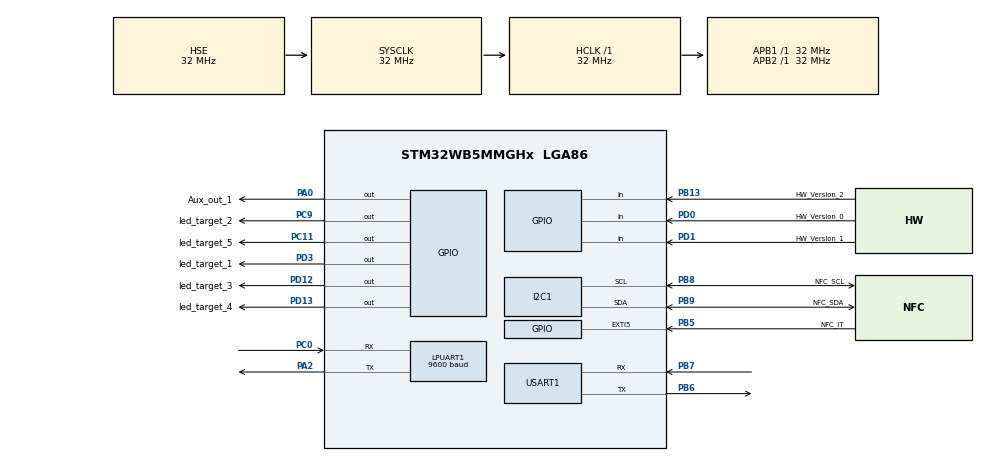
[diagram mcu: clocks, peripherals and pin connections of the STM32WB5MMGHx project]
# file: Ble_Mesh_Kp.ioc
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Dma.Request0=USART1_TX
Dma.USART1_TX.0.Direction=DMA_MEMORY_TO_PERIPH
Dma.USART1_TX.0.EventEnable=DISABLE
Dma.USART1_TX.0.Instance=DMA2_Channel4
Dma.USART1_TX.0.MemDataAlignment=DMA_MDATAALIGN_BYTE
Dma.USART1_TX.0.MemInc=DMA_MINC_ENABLE
Dma.USART1_TX.0.Mode=DMA_NORMAL
Dma.USART1_TX.0.PeriphDataAlignment=DMA_PDATAALIGN_BYTE
Dma.USART1_TX.0.PeriphInc=DMA_PINC_DISABLE
Dma.USART1_TX.0.Polarity=HAL_DMAMUX_REQ_GEN_RISING
Dma.USART1_TX.0.Priority=DMA_PRIORITY_LOW
Dma.USART1_TX.0.RequestNumber=1
Dma.USART1_TX.0.SignalID=NONE
Dma.USART1_TX.0.SyncEnable=DISABLE
Dma.USART1_TX.0.SyncPolarity=HAL_DMAMUX_SYNC_NO_EVENT
Dma.USART1_TX.0.SyncRequestNumber=1
Dma.USART1_TX.0.SyncSignalID=NONE
I2C1.Timing=0x00B07CB4
LPUART1.BaudRate=9600
LPUART1.FIFOMode=UART_FIFOMODE_ENABLE
Mcu.Family=STM32WB
Mcu.Name=STM32WB5MMGHx
Mcu.Package=LGA86
NVIC.DMA2_Channel4_IRQn=true\:0\:0\:false\:false\:true\:false\:true\:true
NVIC.EXTI9_5_IRQn=true\:0\:0\:false\:false\:true\:true\:true\:true
NVIC.HSEM_IRQn=true\:0\:0\:false\:false\:true\:false\:true\:true
NVIC.LPUART1_IRQn=true\:0\:0\:false\:false\:true\:true\:true\:true
NVIC.PriorityGroup=NVIC_PRIORITYGROUP_4
NVIC.USART1_IRQn=true\:0\:0\:false\:false\:true\:true\:true\:true
PA0.GPIO_Label=Aux_out_1
PA0.Signal=GPIO_Output
PA13.Mode=JTAG_5_pins
PA13.Signal=SYS_JTMS-SWDIO
PA14.Mode=JTAG_5_pins
PA14.Signal=SYS_JTCK-SWCLK
PA15.Mode=JTAG_5_pins
PA15.Signal=SYS_JTDI
PA2.Mode=Asynchronous
PA2.Signal=LPUART1_TX
PB13.GPIO_Label=HW_Version_2
PB13.Signal=GPIO_Input
PB3.Mode=JTAG_5_pins
PB3.Signal=SYS_JTDO-SWO
PB4.Mode=JTAG_5_pins
PB4.Signal=SYS_JTRST
PB5.GPIO_Label=NFC_IT
PB5.Signal=GPXTI5
PB6.Mode=Asynchronous
PB6.Signal=USART1_TX
PB7.Mode=Asynchronous
PB7.Signal=USART1_RX
PB8.GPIO_Label=NFC_SCL
PB8.Mode=I2C
PB8.Signal=I2C1_SCL
PB9.GPIO_Label=NFC_SDA
PB9.Mode=I2C
PB9.Signal=I2C1_SDA
PC0.Mode=Asynchronous
PC0.Signal=LPUART1_RX
PC11.GPIO_Label=led_target_5
PC11.Signal=GPIO_Output
PC9.GPIO_Label=led_target_2
PC9.Signal=GPIO_Output
PD0.GPIO_Label=HW_Version_0
PD0.Signal=GPIO_Input
PD1.GPIO_Label=HW_Version_1
PD1.Signal=GPIO_Input
PD12.GPIO_Label=led_target_3
PD12.Signal=GPIO_Output
PD13.GPIO_Label=led_target_4
PD13.Signal=GPIO_Output
PD3.GPIO_Label=led_target_1
PD3.Signal=GPIO_Output
ProjectManager.HeapSize=0x400
ProjectManager.StackSize=0x800
ProjectManager.TargetToolchain=MDK-ARM V5.32
RCC.ADCFreq_Value=128000000
RCC.AHBFreq_Value=32000000
RCC.APB1Freq_Value=32000000
RCC.APB1TimFreq_Value=32000000
RCC.APB2Freq_Value=32000000
RCC.APB2TimFreq_Value=32000000
RCC.APB3Freq_Value=16000000
RCC.CortexFreq_Value=32000000
RCC.HCLKFreq_Value=32000000
RCC.HSE_VALUE=32000000
RCC.HSI48_VALUE=48000000
RCC.HSI_VALUE=16000000
RCC.MSIClockRange=RCC_MSIRANGE_10
RCC.RFWKPClockSelection=RCC_RFWKPCLKSOURCE_LSE
RCC.RTCClockSelection=RCC_RTCCLKSOURCE_LSE
RCC.SMPSCLockSelection=RCC_SMPSCLKSOURCE_HSE
RCC.SYSCLKFreq_VALUE=32000000
RCC.SYSCLKSource=RCC_SYSCLKSOURCE_HSE
RCC.USBFreq_Value=128000000
RCC.VCOOutputFreq_Value=256000000
STM32_WPAN.CFG_IDENTITY_ADDRESS=GAP_STATIC_RANDOM_ADDR
STM32_WPAN.CFG_LSCLK_LSE=0
STM32_WPAN.CFG_TX_POWER=(0x1F) /* 6dBm */
USART1.VirtualMode-Asynchronous=VM_ASYNC
VP_CRC_VS_CRC.Mode=CRC_Activate
VP_HSEM_VS_HSEM.Mode=HSEM_Activate
VP_IPCC_VS_IPCC.Mode=IPCC_Activate
VP_MEMORYMAP_VS_MEMORYMAP.Mode=CurAppReg
VP_RCC_V_OSC32_IN.Mode=LSE-External-Clock-Source
VP_RCC_V_OSC_IN.Mode=HSE-External-Clock-Source
VP_RF_VS_RF.Mode=RF_Activate
VP_RTC_VS_RTC_Activate.Mode=RTC_Enabled
VP_SEQUENCER_VS_SEQUENCER.Mode=SEQUENCER_Enabled
VP_STM32_WPAN_VS_BLE_HOST.Mode=STM32_WPAN_Enabled
VP_TINY_LPM_VS_TINY_LPM.Mode=TINY_LPM_Enabled
board=custom

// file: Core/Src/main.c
/* USER CODE BEGIN Header */
/**
  ******************************************************************************
  * @file           : main.c
  * @brief          : Main program body
  ******************************************************************************
  * @attention
  *
  * Copyright (c) 2024 STMicroelectronics.
  * All rights reserved.
  *
  * This software is licensed under terms that can be found in the LICENSE file
  * in the root directory of this software component.
  * If no LICENSE file comes with this software, it is provided AS-IS.
  *
  ******************************************************************************
  */
/* USER CODE END Header */
#include "main.h"

/* USER CODE BEGIN Includes */
#include "p2p_server_app.h"
#include "ctor10-w_data.h"
#include "nfc_eeprom_mngt.h"
#include "dbg_trace.h"
/* USER CODE END Includes */

CRC_HandleTypeDef hcrc;

I2C_HandleTypeDef hi2c1;

IPCC_HandleTypeDef hipcc;

UART_HandleTypeDef hlpuart1;
UART_HandleTypeDef huart1;
DMA_HandleTypeDef hdma_usart1_tx;

RTC_HandleTypeDef hrtc;

/* USER CODE BEGIN PV */
char txBuf[TXBUFLEN];
char rxBuf[TXBUFLEN];
/* USER CODE END PV */

void SystemClock_Config(void);
void PeriphCommonClock_Config(void);
static void MX_GPIO_Init(void);
static void MX_DMA_Init(void);
static void MX_IPCC_Init(void);
static void MX_RTC_Init(void);
static void MX_USART1_UART_Init(void);
static void MX_I2C1_Init(void);
static void MX_LPUART1_UART_Init(void);
static void MX_CRC_Init(void);
static void MX_RF_Init(void);
/* USER CODE BEGIN PFP */
static void LPUART1_EnableWakeupFromStop(void);
/* USER CODE END PFP */

/* USER CODE BEGIN 0 */
uint8_t Rx_data[80];  //  creating a buffer of 100 bytes

void HAL_UART_RxCpltCallback(UART_HandleTypeDef *huart)
{
	/*char hex[4]; // "FF " + '\0'
    for (int i = 0; i < 20; i++)
    {
        int len = snprintf(hex, sizeof(hex), "%02X ", Rx_data[i]);
        HAL_UART_Transmit(&huart1, (uint8_t*)hex, len, HAL_MAX_DELAY);
    }
    char newline[] = "\r\n";
    HAL_UART_Transmit(&huart1, (uint8_t*)newline, 2, HAL_MAX_DELAY);*/
	#if DEBUG_LOG_ENABLED
    // Construit une ligne "RX: NN octets : xx xx xx ..."
    int offset = 0;
    offset += snprintf(txBuf + offset, TXBUFLEN - offset,
                       "RX %d bytes: ", 20);

    for (int i = 0; i < 20 && offset < (TXBUFLEN - 4); i++)
    {
        offset += snprintf(txBuf + offset, TXBUFLEN - offset,
                           "%02X ", Rx_data[i]);
    }

    // Ajoute fin de ligne
    snprintf(txBuf + offset, TXBUFLEN - offset, "\r\n");
    APP_DBG_MSG("%s", txBuf);
#endif

	ctor10wStoreAndNotify(Rx_data,20);
	HAL_UART_Receive_IT(huart, Rx_data, 20);
}

//drive error on UART like 0x00 emit by PIC at power off
void HAL_UART_ErrorCallback(UART_HandleTypeDef *huart)
{
	/*__disable_irq();
		huart->RxState= HAL_UART_STATE_READY;
	__enable_irq();*/
	HAL_UART_Abort(huart);
	HAL_UART_Receive_IT(huart, Rx_data, 20);
}

/**
Debug purpose only
*/
void HelloWorld()
{
	//snprintf (txBuf, TXBUFLEN, "KP-Ble-V2410: Hello World Hw %s\r\n", DISAPP_HARDWARE_REVISION_NUMBER);
	//HAL_UART_Transmit(&huart1, (uint8_t *)txBuf, strlen (txBuf), HAL_MAX_DELAY);
	APP_DBG_MSG("KP-Ble-V2410: Hello World Hw %s\r\n", DISAPP_HARDWARE_REVISION_NUMBER);
}
/* USER CODE END 0 */

int main(void)
{

  /* MCU Configuration--------------------------------------------------------*/

  /* Reset of all peripherals, Initializes the Flash interface and the Systick. */
  HAL_Init();
  /* Config code for STM32_WPAN (HSE Tuning must be done before system clock configuration) */
  MX_APPE_Config();

  /* Configure the system clock */
  SystemClock_Config();

  /* Configure the peripherals common clocks */
  PeriphCommonClock_Config();

  /* IPCC initialisation */
  MX_IPCC_Init();

  /* Initialize all configured peripherals */
  MX_GPIO_Init();
  MX_DMA_Init();
  MX_RTC_Init();
  MX_USART1_UART_Init();
  MX_I2C1_Init();
  MX_LPUART1_UART_Init();
  MX_CRC_Init();
  MX_RF_Init();
  /* USER CODE BEGIN 2 */
	GetHardwareVersion();
	EepromNFCInit();
  /* USER CODE END 2 */

  /* Init code for STM32_WPAN */
  MX_APPE_Init();

  /* Infinite loop */
  /* USER CODE BEGIN WHILE */
	HelloWorld();
	ctor10w_data_Init();
	UpdateDesignWithEEpromValue();
	HAL_UART_Abort(&hlpuart1);
  HAL_UART_Receive_IT(&hlpuart1, Rx_data, 20);
	//LPUART1_EnableWakeupFromStop();
  while (1)
  {
    /* USER CODE END WHILE */
    MX_APPE_Process();

    /* USER CODE BEGIN 3 */
		//On tente systématiquement le STOP2, WFI ne mettra en veille que s'il n'y a pas d'IT en attente
/*    HAL_SuspendTick();
    HAL_PWREx_EnterSTOP2Mode(PWR_STOPENTRY_WFI);
    // Réveil ici (BLE, LPUART, GPIO, RTC…)
    SystemClock_Config();   // Reconfig HSE/PLL après STOP2
    HAL_ResumeTick();*/
  }
  /* USER CODE END 3 */
}

void SystemClock_Config(void)
{
  RCC_OscInitTypeDef RCC_OscInitStruct = {0};
  RCC_ClkInitTypeDef RCC_ClkInitStruct = {0};

  /** Configure LSE Drive Capability
  */
  HAL_PWR_EnableBkUpAccess();
  __HAL_RCC_LSEDRIVE_CONFIG(RCC_LSEDRIVE_MEDIUMHIGH);

  /** Configure the main internal regulator output voltage
  */
  __HAL_PWR_VOLTAGESCALING_CONFIG(PWR_REGULATOR_VOLTAGE_SCALE1);

  /** Initializes the RCC Oscillators according to the specified parameters
  * in the RCC_OscInitTypeDef structure.
  */
  RCC_OscInitStruct.OscillatorType = RCC_OSCILLATORTYPE_HSI|RCC_OSCILLATORTYPE_HSE
                              |RCC_OSCILLATORTYPE_LSE;
  RCC_OscInitStruct.HSEState = RCC_HSE_ON;
  RCC_OscInitStruct.LSEState = RCC_LSE_ON;
  RCC_OscInitStruct.HSIState = RCC_HSI_ON;
  RCC_OscInitStruct.HSICalibrationValue = RCC_HSICALIBRATION_DEFAULT;
  RCC_OscInitStruct.PLL.PLLState = RCC_PLL_NONE;
  if (HAL_RCC_OscConfig(&RCC_OscInitStruct) != HAL_OK)
  {
    Error_Handler();
  }

  /** Configure the SYSCLKSource, HCLK, PCLK1 and PCLK2 clocks dividers
  */
  RCC_ClkInitStruct.ClockType = RCC_CLOCKTYPE_HCLK4|RCC_CLOCKTYPE_HCLK2
                              |RCC_CLOCKTYPE_HCLK|RCC_CLOCKTYPE_SYSCLK
                              |RCC_CLOCKTYPE_PCLK1|RCC_CLOCKTYPE_PCLK2;
  RCC_ClkInitStruct.SYSCLKSource = RCC_SYSCLKSOURCE_HSE;
  RCC_ClkInitStruct.AHBCLKDivider = RCC_SYSCLK_DIV1;
  RCC_ClkInitStruct.APB1CLKDivider = RCC_HCLK_DIV1;
  RCC_ClkInitStruct.APB2CLKDivider = RCC_HCLK_DIV1;
  RCC_ClkInitStruct.AHBCLK2Divider = RCC_SYSCLK_DIV1;
  RCC_ClkInitStruct.AHBCLK4Divider = RCC_SYSCLK_DIV1;

  if (HAL_RCC_ClockConfig(&RCC_ClkInitStruct, FLASH_LATENCY_1) != HAL_OK)
  {
    Error_Handler();
  }
}

void PeriphCommonClock_Config(void)
{
  RCC_PeriphCLKInitTypeDef PeriphClkInitStruct = {0};

  /** Initializes the peripherals clock
  */
  PeriphClkInitStruct.PeriphClockSelection = RCC_PERIPHCLK_SMPS|RCC_PERIPHCLK_RFWAKEUP;
  PeriphClkInitStruct.RFWakeUpClockSelection = RCC_RFWKPCLKSOURCE_LSE;
  PeriphClkInitStruct.SmpsClockSelection = RCC_SMPSCLKSOURCE_HSE;
  PeriphClkInitStruct.SmpsDivSelection = RCC_SMPSCLKDIV_RANGE0;

  if (HAL_RCCEx_PeriphCLKConfig(&PeriphClkInitStruct) != HAL_OK)
  {
    Error_Handler();
  }
}

static void MX_CRC_Init(void)
{

  hcrc.Instance = CRC;
  hcrc.Init.DefaultPolynomialUse = DEFAULT_POLYNOMIAL_ENABLE;
  hcrc.Init.DefaultInitValueUse = DEFAULT_INIT_VALUE_ENABLE;
  hcrc.Init.InputDataInversionMode = CRC_INPUTDATA_INVERSION_NONE;
  hcrc.Init.OutputDataInversionMode = CRC_OUTPUTDATA_INVERSION_DISABLE;
  hcrc.InputDataFormat = CRC_INPUTDATA_FORMAT_BYTES;
  if (HAL_CRC_Init(&hcrc) != HAL_OK)
  {
    Error_Handler();
  }

}

static void MX_I2C1_Init(void)
{

  hi2c1.Instance = I2C1;
  hi2c1.Init.Timing = 0x00B07CB4;
  hi2c1.Init.OwnAddress1 = 0;
  hi2c1.Init.AddressingMode = I2C_ADDRESSINGMODE_7BIT;
  hi2c1.Init.DualAddressMode = I2C_DUALADDRESS_DISABLE;
  hi2c1.Init.OwnAddress2 = 0;
  hi2c1.Init.OwnAddress2Masks = I2C_OA2_NOMASK;
  hi2c1.Init.GeneralCallMode = I2C_GENERALCALL_DISABLE;
  hi2c1.Init.NoStretchMode = I2C_NOSTRETCH_DISABLE;
  if (HAL_I2C_Init(&hi2c1) != HAL_OK)
  {
    Error_Handler();
  }

  /** Configure Analogue filter
  */
  if (HAL_I2CEx_ConfigAnalogFilter(&hi2c1, I2C_ANALOGFILTER_ENABLE) != HAL_OK)
  {
    Error_Handler();
  }

  /** Configure Digital filter
  */
  if (HAL_I2CEx_ConfigDigitalFilter(&hi2c1, 0) != HAL_OK)
  {
    Error_Handler();
  }

}

static void MX_IPCC_Init(void)
{

  hipcc.Instance = IPCC;
  if (HAL_IPCC_Init(&hipcc) != HAL_OK)
  {
    Error_Handler();
  }

}

static void MX_LPUART1_UART_Init(void)
{

  hlpuart1.Instance = LPUART1;
  hlpuart1.Init.BaudRate = 9600;
  hlpuart1.Init.WordLength = UART_WORDLENGTH_8B;
  hlpuart1.Init.StopBits = UART_STOPBITS_1;
  hlpuart1.Init.Parity = UART_PARITY_NONE;
  hlpuart1.Init.Mode = UART_MODE_TX_RX;
  hlpuart1.Init.HwFlowCtl = UART_HWCONTROL_NONE;
  hlpuart1.Init.OneBitSampling = UART_ONE_BIT_SAMPLE_DISABLE;
  hlpuart1.Init.ClockPrescaler = UART_PRESCALER_DIV1;
  hlpuart1.AdvancedInit.AdvFeatureInit = UART_ADVFEATURE_NO_INIT;
  hlpuart1.FifoMode = UART_FIFOMODE_ENABLE;
  if (HAL_UART_Init(&hlpuart1) != HAL_OK)
  {
    Error_Handler();
  }
  if (HAL_UARTEx_SetTxFifoThreshold(&hlpuart1, UART_TXFIFO_THRESHOLD_1_8) != HAL_OK)
  {
    Error_Handler();
  }
  if (HAL_UARTEx_SetRxFifoThreshold(&hlpuart1, UART_RXFIFO_THRESHOLD_1_8) != HAL_OK)
  {
    Error_Handler();
  }
  if (HAL_UARTEx_EnableFifoMode(&hlpuart1) != HAL_OK)
  {
    Error_Handler();
  }

}

static void MX_USART1_UART_Init(void)
{

  huart1.Instance = USART1;
  huart1.Init.BaudRate = 115200;
  huart1.Init.WordLength = UART_WORDLENGTH_8B;
  huart1.Init.StopBits = UART_STOPBITS_1;
  huart1.Init.Parity = UART_PARITY_NONE;
  huart1.Init.Mode = UART_MODE_TX_RX;
  huart1.Init.HwFlowCtl = UART_HWCONTROL_NONE;
  huart1.Init.OverSampling = UART_OVERSAMPLING_16;
  huart1.Init.OneBitSampling = UART_ONE_BIT_SAMPLE_DISABLE;
  huart1.Init.ClockPrescaler = UART_PRESCALER_DIV1;
  huart1.AdvancedInit.AdvFeatureInit = UART_ADVFEATURE_NO_INIT;
  if (HAL_UART_Init(&huart1) != HAL_OK)
  {
    Error_Handler();
  }
  if (HAL_UARTEx_SetTxFifoThreshold(&huart1, UART_TXFIFO_THRESHOLD_1_8) != HAL_OK)
  {
    Error_Handler();
  }
  if (HAL_UARTEx_SetRxFifoThreshold(&huart1, UART_RXFIFO_THRESHOLD_1_8) != HAL_OK)
  {
    Error_Handler();
  }
  if (HAL_UARTEx_DisableFifoMode(&huart1) != HAL_OK)
  {
    Error_Handler();
  }

}

static void MX_RF_Init(void)
{

}

static void MX_RTC_Init(void)
{

  /** Initialize RTC Only
  */
  hrtc.Instance = RTC;
  hrtc.Init.HourFormat = RTC_HOURFORMAT_24;
  hrtc.Init.AsynchPrediv = CFG_RTC_ASYNCH_PRESCALER;
  hrtc.Init.SynchPrediv = CFG_RTC_SYNCH_PRESCALER;
  hrtc.Init.OutPut = RTC_OUTPUT_DISABLE;
  hrtc.Init.OutPutPolarity = RTC_OUTPUT_POLARITY_HIGH;
  hrtc.Init.OutPutType = RTC_OUTPUT_TYPE_OPENDRAIN;
  hrtc.Init.OutPutRemap = RTC_OUTPUT_REMAP_NONE;
  if (HAL_RTC_Init(&hrtc) != HAL_OK)
  {
    Error_Handler();
  }

}

static void MX_DMA_Init(void)
{

  /* DMA controller clock enable */
  __HAL_RCC_DMAMUX1_CLK_ENABLE();
  __HAL_RCC_DMA2_CLK_ENABLE();

  /* DMA interrupt init */
  /* DMA2_Channel4_IRQn interrupt configuration */
  HAL_NVIC_SetPriority(DMA2_Channel4_IRQn, 0, 0);
  HAL_NVIC_EnableIRQ(DMA2_Channel4_IRQn);

}

static void MX_GPIO_Init(void)
{
  GPIO_InitTypeDef GPIO_InitStruct = {0};

  /* GPIO Ports Clock Enable */
  __HAL_RCC_GPIOA_CLK_ENABLE();
  __HAL_RCC_GPIOB_CLK_ENABLE();
  __HAL_RCC_GPIOC_CLK_ENABLE();
  __HAL_RCC_GPIOD_CLK_ENABLE();

  /*Configure GPIO pin Output Level */
  HAL_GPIO_WritePin(Aux_out_1_GPIO_Port, Aux_out_1_Pin, GPIO_PIN_RESET);

  /*Configure GPIO pin Output Level */
  HAL_GPIO_WritePin(GPIOC, led_target_5_Pin|led_target_2_Pin, GPIO_PIN_RESET);

  /*Configure GPIO pin Output Level */
  HAL_GPIO_WritePin(GPIOD, led_target_4_Pin|led_target_3_Pin|led_target_1_Pin, GPIO_PIN_RESET);

  /*Configure GPIO pin : Aux_out_1_Pin */
  GPIO_InitStruct.Pin = Aux_out_1_Pin;
  GPIO_InitStruct.Mode = GPIO_MODE_OUTPUT_PP;
  GPIO_InitStruct.Pull = GPIO_NOPULL;
  GPIO_InitStruct.Speed = GPIO_SPEED_FREQ_LOW;
  HAL_GPIO_Init(Aux_out_1_GPIO_Port, &GPIO_InitStruct);

  /*Configure GPIO pin : NFC_IT_Pin */
  GPIO_InitStruct.Pin = NFC_IT_Pin;
  GPIO_InitStruct.Mode = GPIO_MODE_IT_RISING;
  GPIO_InitStruct.Pull = GPIO_NOPULL;
  HAL_GPIO_Init(NFC_IT_GPIO_Port, &GPIO_InitStruct);

  /*Configure GPIO pins : led_target_5_Pin led_target_2_Pin */
  GPIO_InitStruct.Pin = led_target_5_Pin|led_target_2_Pin;
  GPIO_InitStruct.Mode = GPIO_MODE_OUTPUT_PP;
  GPIO_InitStruct.Pull = GPIO_NOPULL;
  GPIO_InitStruct.Speed = GPIO_SPEED_FREQ_LOW;
  HAL_GPIO_Init(GPIOC, &GPIO_InitStruct);

  /*Configure GPIO pins : HW_Version_0_Pin HW_Version_1_Pin */
  GPIO_InitStruct.Pin = HW_Version_0_Pin|HW_Version_1_Pin;
  GPIO_InitStruct.Mode = GPIO_MODE_INPUT;
  GPIO_InitStruct.Pull = GPIO_NOPULL;
  HAL_GPIO_Init(GPIOD, &GPIO_InitStruct);

  /*Configure GPIO pin : HW_Version_2_Pin */
  GPIO_InitStruct.Pin = HW_Version_2_Pin;
  GPIO_InitStruct.Mode = GPIO_MODE_INPUT;
  GPIO_InitStruct.Pull = GPIO_NOPULL;
  HAL_GPIO_Init(HW_Version_2_GPIO_Port, &GPIO_InitStruct);

  /*Configure GPIO pins : led_target_4_Pin led_target_3_Pin led_target_1_Pin */
  GPIO_InitStruct.Pin = led_target_4_Pin|led_target_3_Pin|led_target_1_Pin;
  GPIO_InitStruct.Mode = GPIO_MODE_OUTPUT_PP;
  GPIO_InitStruct.Pull = GPIO_NOPULL;
  GPIO_InitStruct.Speed = GPIO_SPEED_FREQ_LOW;
  HAL_GPIO_Init(GPIOD, &GPIO_InitStruct);

  /* EXTI interrupt init*/
  HAL_NVIC_SetPriority(EXTI9_5_IRQn, 0, 0);
  HAL_NVIC_EnableIRQ(EXTI9_5_IRQn);

}

/* USER CODE BEGIN 4 */
static void LPUART1_EnableWakeupFromStop(void)
{
    UART_WakeUpTypeDef wakeup;

    wakeup.WakeUpEvent = UART_WAKEUP_ON_STARTBIT;
    HAL_UARTEx_StopModeWakeUpSourceConfig(&hlpuart1, wakeup);

    __HAL_UART_ENABLE_IT(&hlpuart1, UART_IT_WUF);   // IT Wakeup from stop
    HAL_UARTEx_EnableStopMode(&hlpuart1);
}
/* USER CODE END 4 */

void Error_Handler(void)
{
  __disable_irq();
  while (1)
  {
  }
}
